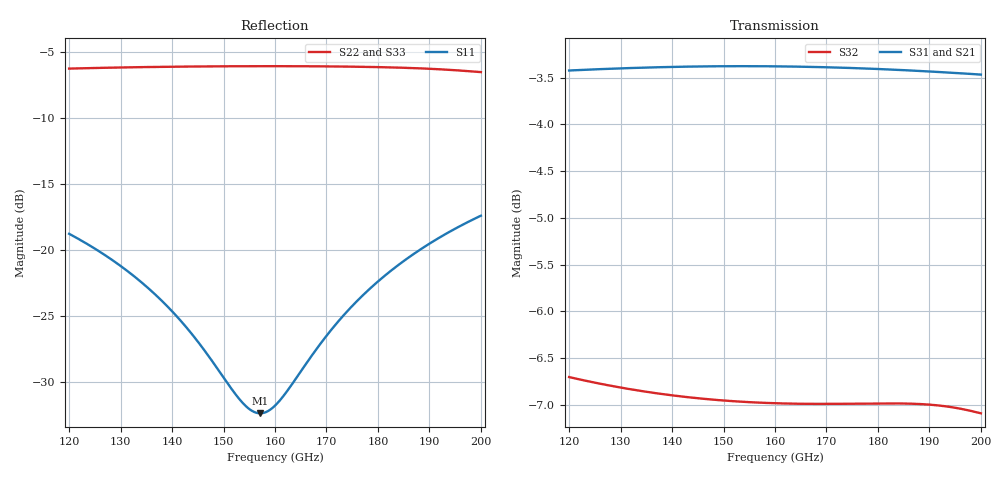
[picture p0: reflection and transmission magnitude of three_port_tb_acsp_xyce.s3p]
[Version] 2.0
# Hz S RI R 50
[Number of Ports] 3
[Reference] 50 50 50
!  Freq  ReS11  ImS11  ReS12  ImS12  ReS13  ImS13  ReS21  ImS21  ReS22  ImS22  ReS23  ImS23  ReS31  ImS31  ReS32  ImS32  ReS33  ImS33
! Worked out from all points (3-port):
!   1001 points, 120 GHz to 200 GHz, reference 50 ohm
!   strongest paths, dB at 120 GHz, 140 GHz, 160 GHz, 180 GHz, 200 GHz:
!     S31: -3.4, -3.4, -3.4, -3.4, -3.5
!     S21: -3.4, -3.4, -3.4, -3.4, -3.5
!     S32: -6.7, -6.9, -7.0, -7.0, -7.1
!   lowest |S11| = -32.4 dB at 157.1 GHz (marker M1), VSWR 1.05, Z = 52.5 - j0.00566 ohm
!   |S11| at or under -10 dB: start of sweep to end of sweep
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[Number of Frequencies] 10
[Network Data]
1.2e11  -0.0205 0.1134  0.256 -0.6235  0.2561 -0.6237
        0.256 -0.6235  0.4628 0.1553  -0.3585 -0.2916
        0.2561 -0.6237  -0.3585 -0.2916  0.4624 0.1549
1.3688e11  0.0103 0.0666  0.1444 -0.6611  0.1444 -0.6614
           0.1444 -0.6611  0.4907 0.0679  -0.4201 -0.1697
           0.1444 -0.6614  -0.4201 -0.1697  0.4902 0.0676
1.4392e11  0.0181 0.0442  0.0957 -0.6705  0.0957 -0.6708
           0.0957 -0.6705  0.4961 0.0314  -0.4355 -0.1157
           0.0957 -0.6708  -0.4355 -0.1157  0.4956 0.0312
1.5344e11  0.0236 0.0125  0.0288 -0.677  0.0287 -0.6773
           0.0288 -0.677  0.4981 -0.0176  -0.4465 -0.041
           0.0287 -0.6773  -0.4465 -0.041  0.4976 -0.0178
1.5712e11  0.024 -5.4e-05  0.00273 -0.6776  0.00266 -0.6779
           0.00273 -0.6776  0.4973 -0.0364  -0.4476 -0.0118
           0.00266 -0.6779  -0.4476 -0.0118  0.4968 -0.0367
1.6e11  0.0237 -0.00987  -0.0177 -0.6773  -0.0177 -0.6775
        -0.0177 -0.6773  0.496 -0.0512  -0.4473 0.0111
        -0.0177 -0.6775  -0.4473 0.0111  0.4955 -0.0514
1.7088e11  0.0173 -0.0465  -0.0942 -0.6701  -0.0944 -0.6703
           -0.0942 -0.6701  0.486 -0.1063  -0.4364 0.0972
           -0.0944 -0.6703  -0.4364 0.0972  0.4855 -0.1065
1.7832e11  0.00842 -0.0705  -0.1457 -0.6598  -0.1459 -0.6599
           -0.1457 -0.6598  0.4741 -0.1435  -0.4197 0.1548
           -0.1459 -0.6599  -0.4197 0.1548  0.4736 -0.1436
1.8832e11  -0.00912 -0.1003  -0.2128 -0.6392  -0.213 -0.6393
           -0.2128 -0.6392  0.4501 -0.1914  -0.3843 0.2284
           -0.213 -0.6393  -0.3843 0.2284  0.4495 -0.1915
2e11  -0.0371 -0.1298  -0.2874 -0.6062  -0.2876 -0.6061
      -0.2874 -0.6062  0.4097 -0.2372  -0.3244 0.3002
      -0.2876 -0.6061  -0.3244 0.3002  0.4091 -0.2373
[End]
